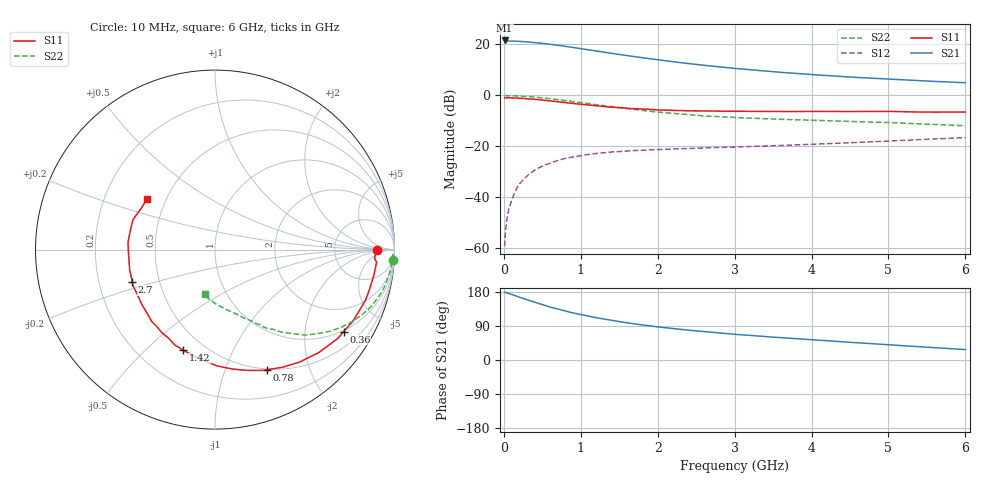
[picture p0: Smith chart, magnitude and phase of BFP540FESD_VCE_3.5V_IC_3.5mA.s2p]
! Infineon Technologies  Discrete & RF Semiconductors
! BFP540FESD
! VCE =  3.5 V,  IC =  3.5 mA
! Common Emitter S-Parameters:  Nov 2015
# GHz  S  MA  R  50
!  f  S11  S21  S12  S22
! GHz  MAG  ANG  MAG  ANG  MAG  ANG  MAG  ANG
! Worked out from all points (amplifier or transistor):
!   210 points, 10 MHz to 6 GHz, reference 50 ohm
!   highest |S21| = 21.6 dB at 10 MHz (marker M1)
!   |S21| within 3 dB of that: start of sweep to 952.6 MHz
!   unconditionally stable (mu >= 1): 3.033 GHz to end of sweep
!   at 185 MHz: K = 0.08, MSG = 28.4 dB, |S12| = -35.6 dB
!   at 1.52 GHz: K = 0.50, MSG = 19.0 dB, |S12| = -22.0 dB
!   at 6 GHz: K = 1.39, MAG = 7.0 dB, |S12| = -16.6 dB
!   S11 on the Smith chart (normalised r, x): 10 MHz: 19, -0; 360 MHz: 0.96, -3.16; 780 MHz: 0.49, -1.40; 1.42 GHz: 0.39, -0.66; 2.7 GHz: 0.35, -0.17; 6 GHz: 0.39, +0.28
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0.01  0.9013 -0.1  12 178.9  0.0011 85.5  0.9929 -3.4
0.02  0.8897 -3.1  11.63 178.6  0.002 75.6  0.9907 -1.1
0.055  0.9025 -4.8  11.68 176.3  0.005 84.1  0.9893 -2.7
0.12  0.8931 -10.9  11.66 171.7  0.0104 81.9  0.9848 -6.0
0.2  0.8853 -18.2  11.5 165.8  0.018 79.5  0.9736 -10.0
0.26  0.8717 -23.6  11.37 162.0  0.0227 77.6  0.9641 -12.9
0.36  0.8503 -32.5  11.06 155.1  0.0308 72.1  0.9396 -17.6
0.5  0.8147 -44.7  10.6 146.0  0.041 66.6  0.8976 -23.8
0.6  0.7842 -53.0  10.1 139.8  0.0469 62.8  0.8629 -27.7
0.78  0.729 -66.7  9.299 130.3  0.0573 56.2  0.7981 -34.2
0.9  0.6952 -75.4  8.74 124.1  0.0623 52.7  0.755 -37.9
1.02  0.6661 -83.3  8.204 119.1  0.0666 49.8  0.716 -41.3
1.2  0.6236 -95.5  7.44 111.6  0.0726 45.7  0.6578 -45.8
1.42  0.5869 -107.7  6.653 104.0  0.0781 41.7  0.5952 -50.7
1.72  0.5466 -123.6  5.734 94.7  0.0831 38.1  0.5241 -56.6
2.02  0.5184 -136.8  4.992 86.9  0.0867 35.5  0.4693 -61.1
2.4  0.4994 -150.5  4.22 78.6  0.0908 33.5  0.4215 -66.2
2.7  0.4947 -158.8  3.77 73.3  0.0942 32.9  0.3883 -70.2
3.1  0.4863 -168.7  3.296 66.5  0.0983 32.2  0.3634 -74.3
4.1  0.4851 173.4  2.511 52.2  0.1112 32.2  0.3221 -83.6
5.1  0.4825 158.2  2.058 38.9  0.1292 30.8  0.2894 -93.0
6  0.4726 143.6  1.778 27.5  0.1484 28.4  0.2539 -103.3
